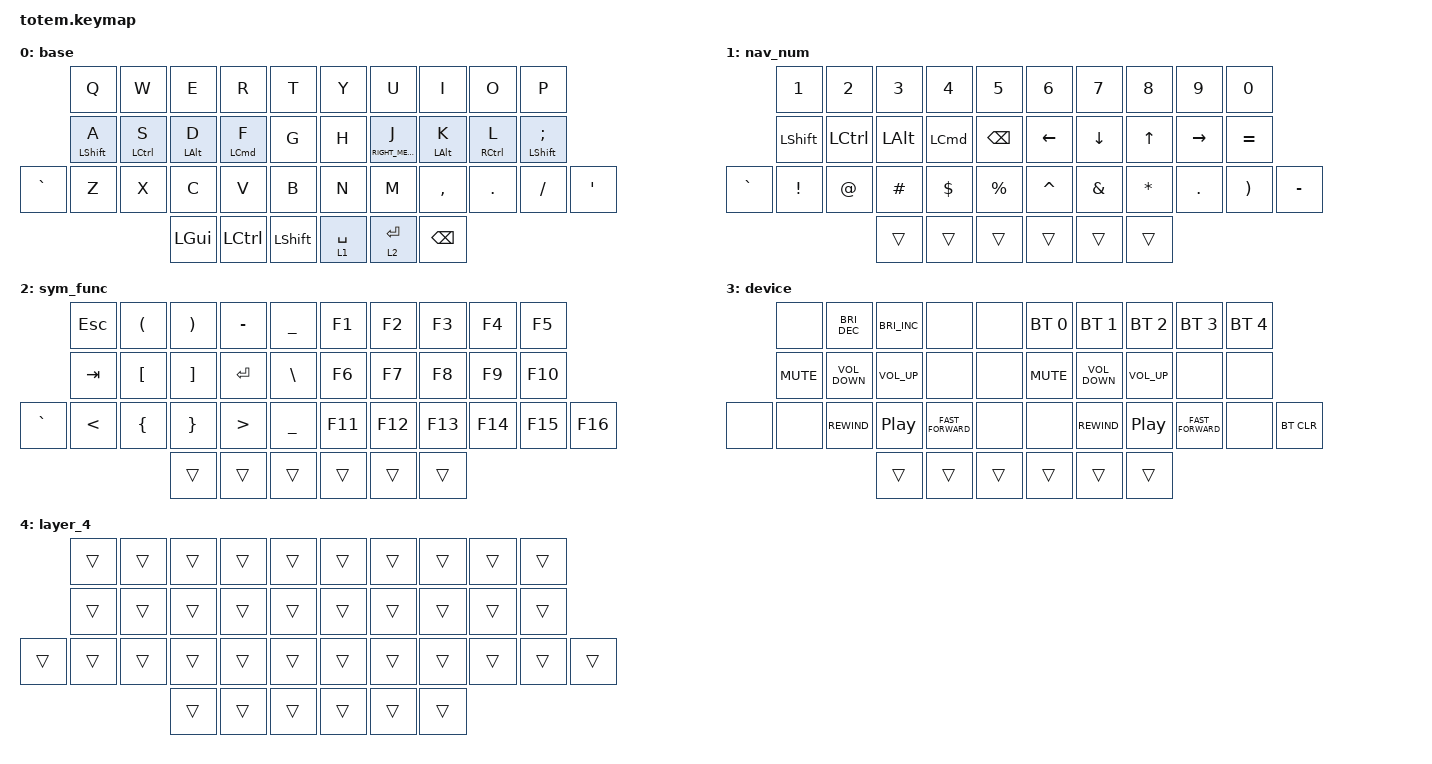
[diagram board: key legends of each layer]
//
//                                                        ▀▀▀▀▀     ▀▀▀▀▀          ▀▀█▀▀
//                                                        ▄▀▀▀▄  ▄  ▄▀▀▀▄  ▄  ▄▀▀▀▄  █  ▄▀▀▀▄
//                                                        █   █  █  █   █  █  █   █  █  █   █
//                                                         ▀▀▀   █   ▀▀▀   █   ▀▀▀   ▀   ▀▀▀
//                                                               █      ▄▄▄█▄▄▄    █   █  
//                                                               ▀      █  █  █     █▄█
//                                                             ▀▀▀▀▀    █  █  █      ▀
//                                                                      ▀  ▀  ▀
//
// ▄▄▄▄▄▄▄▄▄▄▄▄▄▄▄▄▄▄▄▄▄▄▄▄▄▄▄▄▄▄▄▄▄▄▄▄▄▄▄▄▄▄▄▄▄▄▄▄▄▄▄▄▄▄▄▄▄▄▄▄▄▄▄▄▄▄▄▄▄▄▄▄▄▄▄▄▄▄▄▄▄▄▄▄▄▄▄▄▄▄▄▄▄▄▄▄▄▄▄▄▄▄▄▄▄▄▄▄▄▄▄▄▄▄▄▄▄▄▄▄▄▄▄▄▄▄▄▄▄▄▄▄▄▄▄▄▄▄▄▄▄▄▄▄▄▄▄▄▄

#include <behaviors.dtsi>
#include <dt-bindings/zmk/bt.h>
#include <dt-bindings/zmk/keys.h>

/ {
    behaviors {
        retro_tap: retro_tap {
            compatible = "zmk,behavior-hold-tap";
            label = "RETRO_TAP";
            bindings = <&kp>, <&kp>;

            #binding-cells = <2>;
            tapping-term-ms = <0>;
            flavor = "hold-preferred";
            retro-tap;
        };

        tap_unless_preferred: tap_unless_preferred {
            compatible = "zmk,behavior-hold-tap";
            label = "TAP_UNLESS_PREFERRED";
            bindings = <&kp>, <&kp>;

            #binding-cells = <2>;
            tapping-term-ms = <100>;
            flavor = "tap-unless-interrupted";
        };

        hold_layer_change: hold_layer_change {
            compatible = "zmk,behavior-hold-tap";
            label = "HOLD_LAYER_CHANGE";
            bindings = <&mo>, <&kp>;

            #binding-cells = <2>;
            tapping-term-ms = <50>;
            flavor = "hold-preferred";
        };

        hold_preferred: hold_preferred {
            compatible = "zmk,behavior-hold-tap";
            label = "HOLD_PREFERRED";
            bindings = <&kp>, <&kp>;

            #binding-cells = <2>;
            tapping-term-ms = <50>;
        };

        homerow_left: homerow_left {
            compatible = "zmk,behavior-hold-tap";
            label = "HOMEROW_LEFT";
            bindings = <&kp>, <&kp>;

            #binding-cells = <2>;
            flavor = "balanced";
            quick-tap-ms = <125>;
            tapping-term-ms = <280>;
            require-prior-idle-ms = <25>;
            hold-trigger-on-release;
            hold-trigger-key-positions = <26 15 5 6 16 27 17 7 28 8 18 8 9 18 19 29 30 31 5 6 8 9 15 16 17 18 19 26 27 28 29 30 31 35 36 37>;
        };

        homerow_right: homerow_right {
            compatible = "zmk,behavior-hold-tap";
            label = "HOMEROW_RIGHT";
            bindings = <&kp>, <&kp>;

            #binding-cells = <2>;
            flavor = "balanced";
            quick-tap-ms = <125>;
            tapping-term-ms = <280>;
            require-prior-idle-ms = <25>;
            hold-trigger-on-release;
            hold-trigger-key-positions = <0 1 2 3 4 10 11 12 13 14 20 21 22 23 24 25 32 33 34>;
        };
    };

    combos {
        compatible = "zmk,combos";

        combo_esc {
            bindings = <&kp ESC>;
            key-positions = <0 1>;
            layers = <0>;
            timeout-ms = <25>;
            require-prior-idle-ms = <25>;
        };

        combo_enter {
            bindings = <&kp ENTER>;
            key-positions = <16 17 18>;
            timeout-ms = <25>;
            require-prior-idle-ms = <25>;
        };

        combo_left_parens {
            bindings = <&kp LEFT_PARENTHESIS>;
            key-positions = <7 6>;
            timeout-ms = <25>;
            require-prior-idle-ms = <25>;
        };

        combo_right_parens {
            bindings = <&kp RIGHT_PARENTHESIS>;
            key-positions = <7 8>;
            timeout-ms = <25>;
            require-prior-idle-ms = <25>;
        };

        combo_left_bracket {
            bindings = <&kp LEFT_BRACKET>;
            key-positions = <16 17>;
            timeout-ms = <25>;
            require-prior-idle-ms = <25>;
        };

        combo_right_bracket {
            bindings = <&kp RIGHT_BRACKET>;
            key-positions = <17 18>;
            timeout-ms = <25>;
            require-prior-idle-ms = <25>;
        };

        combo_left_brace {
            bindings = <&kp LEFT_BRACE>;
            key-positions = <27 28>;
            timeout-ms = <25>;
            require-prior-idle-ms = <25>;
        };

        combo_right_brace {
            bindings = <&kp RIGHT_BRACE>;
            key-positions = <28 29>;
            timeout-ms = <25>;
            require-prior-idle-ms = <25>;
        };

        combo_tab {
            bindings = <&kp TAB>;
            key-positions = <1 2 3>;
            timeout-ms = <25>;
            require-prior-idle-ms = <25>;
        };

        combo_shift_left {
            bindings = <&kp LEFT_SHIFT>;
            key-positions = <32 33>;
            timeout-ms = <25>;
            require-prior-idle-ms = <25>;
        };

        combo_shift_right {
            bindings = <&kp LEFT_SHIFT>;
            key-positions = <37 36>;
            timeout-ms = <25>;
            require-prior-idle-ms = <25>;
        };

        combo_minus {
            bindings = <&kp MINUS>;
            key-positions = <8 9>;
            timeout-ms = <25>;
            require-prior-idle-ms = <25>;
        };

        combo_equals {
            bindings = <&kp EQUAL>;
            key-positions = <18 19>;
            timeout-ms = <25>;
            require-prior-idle-ms = <25>;
        };

        combo_backslash {
            bindings = <&kp BACKSLASH>;
            key-positions = <19 31>;
            timeout-ms = <25>;
            require-prior-idle-ms = <25>;
        };
    };

    keymap {
        compatible = "zmk,keymap";

        base {
            bindings = <
           &kp Q                       &kp W                  &kp E                     &kp R                         &kp T             &kp Y        &kp U                        &kp I                      &kp O                   &kp P
           &homerow_left LEFT_SHIFT A  &homerow_left LCTRL S  &homerow_left LEFT_ALT D  &homerow_left LEFT_COMMAND F  &kp G             &kp H        &homerow_right RIGHT_META J  &homerow_right LEFT_ALT K  &homerow_right RCTRL L  &homerow_right LEFT_SHIFT SEMI
&kp GRAVE  &kp Z                       &kp X                  &kp C                     &kp V                         &kp B             &kp N        &kp M                        &kp COMMA                  &kp DOT                 &kp FSLH                        &kp APOS
                                                              &kp LEFT_GUI              &kp LCTRL                     &kp LEFT_SHIFT    &lt 1 SPACE  &lt 2 ENTER                  &kp BACKSPACE
            >;
        };

        nav_num {
            bindings = <
           &kp NUMBER_1     &kp NUMBER_2  &kp NUMBER_3  &kp NUMBER_4      &kp N5           &kp NUMBER_6    &kp N7          &kp N8        &kp N9           &kp N0
           &kp LEFT_SHIFT   &kp LCTRL     &kp LEFT_ALT  &kp LEFT_COMMAND  &kp BACKSPACE    &kp LEFT_ARROW  &kp DOWN_ARROW  &kp UP_ARROW  &kp RIGHT_ARROW  &kp EQUAL
&kp GRAVE  &kp EXCLAMATION  &kp AT_SIGN   &kp HASH      &kp DOLLAR        &kp PERCENT      &kp CARET       &kp AMPERSAND   &kp ASTERISK  &kp DOT          &kp RIGHT_PARENTHESIS  &kp MINUS
                                          &trans        &trans            &trans           &trans          &trans          &trans
            >;
        };

        sym_func {
            bindings = <
           &kp ESC        &kp LEFT_PARENTHESIS  &kp RIGHT_PARENTHESIS  &kp MINUS         &kp UNDERSCORE    &kp F1   &kp F2   &kp F3   &kp F4   &kp F5
           &kp TAB        &kp LBKT              &kp RBKT               &kp ENTER         &kp BSLH          &kp F6   &kp F7   &kp F8   &kp F9   &kp F10
&kp GRAVE  &kp LESS_THAN  &kp LEFT_BRACE        &kp RIGHT_BRACE        &kp GREATER_THAN  &kp UNDERSCORE    &kp F11  &kp F12  &kp F13  &kp F14  &kp F15  &kp F16
                                                &trans                 &trans            &trans            &trans   &trans   &trans
            >;
        };

        device {
            bindings = <
       &none       &kp C_BRIGHTNESS_DEC  &kp C_BRIGHTNESS_INC  &none               &none     &bt BT_SEL 0  &bt BT_SEL 1       &bt BT_SEL 2      &bt BT_SEL 3        &bt BT_SEL 4
       &kp K_MUTE  &kp C_VOLUME_DOWN     &kp C_VOLUME_UP       &none               &none     &kp K_MUTE    &kp C_VOLUME_DOWN  &kp C_VOLUME_UP   &none               &none
&none  &none       &kp C_REWIND          &kp C_PLAY_PAUSE      &kp C_FAST_FORWARD  &none     &none         &kp C_REWIND       &kp C_PLAY_PAUSE  &kp C_FAST_FORWARD  &none         &bt BT_CLR
                                         &trans                &trans              &trans    &trans        &trans             &trans
            >;
        };

        layer_4 {
            bindings = <
        &trans  &trans  &trans  &trans  &trans    &trans  &trans  &trans  &trans  &trans
        &trans  &trans  &trans  &trans  &trans    &trans  &trans  &trans  &trans  &trans
&trans  &trans  &trans  &trans  &trans  &trans    &trans  &trans  &trans  &trans  &trans  &trans
                        &trans  &trans  &trans    &trans  &trans  &trans
            >;
        };
    };

    conditional_layers {
        compatible = "zmk,conditional-layers";

        device {
            if-layers = <1 2>;
            then-layer = <3>;
        };
    };
};
